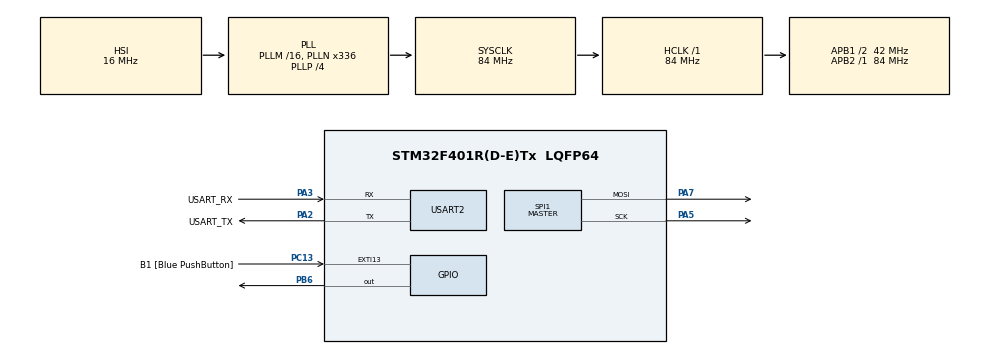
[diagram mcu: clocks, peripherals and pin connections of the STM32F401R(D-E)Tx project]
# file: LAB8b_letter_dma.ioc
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Dma.Request0=SPI1_TX
Dma.SPI1_TX.0.Direction=DMA_MEMORY_TO_PERIPH
Dma.SPI1_TX.0.FIFOMode=DMA_FIFOMODE_DISABLE
Dma.SPI1_TX.0.Instance=DMA2_Stream3
Dma.SPI1_TX.0.MemDataAlignment=DMA_MDATAALIGN_BYTE
Dma.SPI1_TX.0.MemInc=DMA_MINC_ENABLE
Dma.SPI1_TX.0.Mode=DMA_NORMAL
Dma.SPI1_TX.0.PeriphDataAlignment=DMA_PDATAALIGN_BYTE
Dma.SPI1_TX.0.PeriphInc=DMA_PINC_DISABLE
Dma.SPI1_TX.0.Priority=DMA_PRIORITY_LOW
Mcu.Family=STM32F4
Mcu.Name=STM32F401R(D-E)Tx
Mcu.Package=LQFP64
NVIC.DMA2_Stream3_IRQn=true\:0\:0\:false\:false\:true\:false\:true
NVIC.PriorityGroup=NVIC_PRIORITYGROUP_0
NVIC.TIM1_UP_TIM10_IRQn=true\:0\:0\:false\:false\:true\:true\:true
NVIC.TIM2_IRQn=true\:0\:0\:false\:false\:true\:true\:true
PA13.GPIO_Label=TMS
PA13.Mode=Serial_Wire
PA13.Signal=SYS_JTMS-SWDIO
PA14.GPIO_Label=TCK
PA14.Mode=Serial_Wire
PA14.Signal=SYS_JTCK-SWCLK
PA2.GPIO_Label=USART_TX
PA2.GPIO_Mode=GPIO_MODE_AF_PP
PA2.GPIO_PuPd=GPIO_NOPULL
PA2.GPIO_Speed=GPIO_SPEED_FREQ_LOW
PA2.Mode=Asynchronous
PA2.Signal=USART2_TX
PA3.GPIO_Label=USART_RX
PA3.GPIO_Mode=GPIO_MODE_AF_PP
PA3.GPIO_PuPd=GPIO_NOPULL
PA3.GPIO_Speed=GPIO_SPEED_FREQ_LOW
PA3.Mode=Asynchronous
PA3.Signal=USART2_RX
PA5.Mode=TX_Only_Simplex_Unidirect_Master
PA5.Signal=SPI1_SCK
PA7.Mode=TX_Only_Simplex_Unidirect_Master
PA7.Signal=SPI1_MOSI
PB6.Signal=GPIO_Output
PC13-ANTI_TAMP.GPIO_Label=B1 [Blue PushButton]
PC13-ANTI_TAMP.GPIO_ModeDefaultEXTI=GPIO_MODE_IT_FALLING
PC13-ANTI_TAMP.GPIO_PuPd=GPIO_NOPULL
PC13-ANTI_TAMP.Signal=GPXTI13
PC14-OSC32_IN.Mode=LSE-External-Oscillator
PC14-OSC32_IN.Signal=RCC_OSC32_IN
PC15-OSC32_OUT.Mode=LSE-External-Oscillator
PC15-OSC32_OUT.Signal=RCC_OSC32_OUT
PH0\ -\ OSC_IN.Mode=HSE-External-Clock-Source
PH0\ -\ OSC_IN.Signal=RCC_OSC_IN
PH1\ -\ OSC_OUT.Mode=HSE-External-Clock-Source
PH1\ -\ OSC_OUT.Signal=RCC_OSC_OUT
ProjectManager.HeapSize=0x200
ProjectManager.StackSize=0x400
ProjectManager.TargetToolchain=STM32CubeIDE
RCC.48MHZClocksFreq_Value=48000000
RCC.AHBFreq_Value=84000000
RCC.APB1CLKDivider=RCC_HCLK_DIV2
RCC.APB1Freq_Value=42000000
RCC.APB1TimFreq_Value=84000000
RCC.APB2Freq_Value=84000000
RCC.APB2TimFreq_Value=84000000
RCC.CortexFreq_Value=84000000
RCC.HCLKFreq_Value=84000000
RCC.HSE_VALUE=8000000
RCC.HSI_VALUE=16000000
RCC.PLLN=336
RCC.PLLP=RCC_PLLP_DIV4
RCC.PLLQ=7
RCC.SYSCLKFreq_VALUE=84000000
RCC.SYSCLKSource=RCC_SYSCLKSOURCE_PLLCLK
RCC.VCOOutputFreq_Value=336000000
SPI1.Direction=SPI_DIRECTION_2LINES
SPI1.Mode=SPI_MODE_MASTER
SPI1.VirtualType=VM_MASTER
TIM1.AutoReloadPreload=TIM_AUTORELOAD_PRELOAD_ENABLE
TIM1.Period=96-1
TIM1.Prescaler=1000-1
TIM2.AutoReloadPreload=TIM_AUTORELOAD_PRELOAD_ENABLE
TIM2.Period=21000-1
TIM2.Prescaler=4000-1
USART2.VirtualMode=VM_ASYNC
VP_TIM1_VS_ClockSourceINT.Mode=Internal
VP_TIM2_VS_ClockSourceINT.Mode=Internal
board=NUCLEO-F401RE

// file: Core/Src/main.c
/* USER CODE BEGIN Header */
/**
  ******************************************************************************
  * @file           : main.c
  * @brief          : Main program body
  ******************************************************************************
  * @attention
  *
  * <h2><center>&copy; Copyright (c) 2021 STMicroelectronics.
  * All rights reserved.</center></h2>
  *
  * This software component is licensed by ST under BSD 3-Clause license,
  * the "License"; You may not use this file except in compliance with the
  * License. You may obtain a copy of the License at:
  *                        opensource.org/licenses/BSD-3-Clause
  *
  ******************************************************************************
  */
/* USER CODE END Header */
#include "main.h"

/* USER CODE BEGIN PTD */
typedef uint8_t letter_t[5][2];

/* USER CODE END PTD */

/* USER CODE BEGIN PM */
#define GET_LETTER_BYTES(col1,col2,col3,col4,col5) {{col1<<1,16},{col2<<1,8},{col3<<1,4},{col4<<1,2},{col5<<1,1}}
/* USER CODE END PM */

SPI_HandleTypeDef hspi1;
DMA_HandleTypeDef hdma_spi1_tx;

TIM_HandleTypeDef htim1;
TIM_HandleTypeDef htim2;

UART_HandleTypeDef huart2;

/* USER CODE BEGIN PV */
letter_t letterA =  GET_LETTER_BYTES(31,36,68,36,31);
letter_t letterI =  GET_LETTER_BYTES(65,65,127,65,65);

/* USER CODE END PV */

void SystemClock_Config(void);
static void MX_GPIO_Init(void);
static void MX_USART2_UART_Init(void);
static void MX_TIM1_Init(void);
static void MX_DMA_Init(void);
static void MX_SPI1_Init(void);
static void MX_TIM2_Init(void);

/* USER CODE BEGIN 0 */
// anonymous struct
volatile struct {
	uint8_t index;
	letter_t letter;
} display;

void HAL_TIM_PeriodElapsedCallback(TIM_HandleTypeDef *htim)
{
	if(htim->Instance == htim2.Instance){
		static int letter_counter = 0;
		if(letter_counter == 0){
		  memcpy(display.letter, letterA, sizeof letterA);
		  letter_counter = 1;
		} else {
		  memcpy(display.letter, letterI, sizeof letterI);
		  letter_counter = 0;
		}
	}else
	 if(htim->Instance == htim1.Instance){
		  HAL_GPIO_WritePin(GPIOB,GPIO_PIN_6, GPIO_PIN_SET);
		  if(++display.index > 4)
			 display.index = 0;
		  HAL_GPIO_WritePin(GPIOB,GPIO_PIN_6, GPIO_PIN_RESET);
		  HAL_SPI_Transmit_DMA(&hspi1, display.letter[display.index], 2);
	  }
}
/* USER CODE END 0 */

int main(void)
{

  /* MCU Configuration--------------------------------------------------------*/

  /* Reset of all peripherals, Initializes the Flash interface and the Systick. */
  HAL_Init();

  /* Configure the system clock */
  SystemClock_Config();

  /* Initialize all configured peripherals */
  MX_GPIO_Init();
  MX_USART2_UART_Init();
  MX_TIM1_Init();
  MX_DMA_Init();
  MX_SPI1_Init();
  MX_TIM2_Init();
  /* USER CODE BEGIN 2 */
  HAL_TIM_Base_Start_IT(&htim2);
  HAL_TIM_Base_Start_IT(&htim1);

  /* USER CODE END 2 */

  /* Infinite loop */
  while (1)
  {

  }
}

void SystemClock_Config(void)
{
  RCC_OscInitTypeDef RCC_OscInitStruct = {0};
  RCC_ClkInitTypeDef RCC_ClkInitStruct = {0};

  /** Configure the main internal regulator output voltage
  */
  __HAL_RCC_PWR_CLK_ENABLE();
  __HAL_PWR_VOLTAGESCALING_CONFIG(PWR_REGULATOR_VOLTAGE_SCALE2);
  /** Initializes the RCC Oscillators according to the specified parameters
  * in the RCC_OscInitTypeDef structure.
  */
  RCC_OscInitStruct.OscillatorType = RCC_OSCILLATORTYPE_HSI;
  RCC_OscInitStruct.HSIState = RCC_HSI_ON;
  RCC_OscInitStruct.HSICalibrationValue = RCC_HSICALIBRATION_DEFAULT;
  RCC_OscInitStruct.PLL.PLLState = RCC_PLL_ON;
  RCC_OscInitStruct.PLL.PLLSource = RCC_PLLSOURCE_HSI;
  RCC_OscInitStruct.PLL.PLLM = 16;
  RCC_OscInitStruct.PLL.PLLN = 336;
  RCC_OscInitStruct.PLL.PLLP = RCC_PLLP_DIV4;
  RCC_OscInitStruct.PLL.PLLQ = 7;
  if (HAL_RCC_OscConfig(&RCC_OscInitStruct) != HAL_OK)
  {
    Error_Handler();
  }
  /** Initializes the CPU, AHB and APB buses clocks
  */
  RCC_ClkInitStruct.ClockType = RCC_CLOCKTYPE_HCLK|RCC_CLOCKTYPE_SYSCLK
                              |RCC_CLOCKTYPE_PCLK1|RCC_CLOCKTYPE_PCLK2;
  RCC_ClkInitStruct.SYSCLKSource = RCC_SYSCLKSOURCE_PLLCLK;
  RCC_ClkInitStruct.AHBCLKDivider = RCC_SYSCLK_DIV1;
  RCC_ClkInitStruct.APB1CLKDivider = RCC_HCLK_DIV2;
  RCC_ClkInitStruct.APB2CLKDivider = RCC_HCLK_DIV1;

  if (HAL_RCC_ClockConfig(&RCC_ClkInitStruct, FLASH_LATENCY_2) != HAL_OK)
  {
    Error_Handler();
  }
}

static void MX_SPI1_Init(void)
{

  /* SPI1 parameter configuration*/
  hspi1.Instance = SPI1;
  hspi1.Init.Mode = SPI_MODE_MASTER;
  hspi1.Init.Direction = SPI_DIRECTION_2LINES;
  hspi1.Init.DataSize = SPI_DATASIZE_8BIT;
  hspi1.Init.CLKPolarity = SPI_POLARITY_LOW;
  hspi1.Init.CLKPhase = SPI_PHASE_1EDGE;
  hspi1.Init.NSS = SPI_NSS_SOFT;
  hspi1.Init.BaudRatePrescaler = SPI_BAUDRATEPRESCALER_2;
  hspi1.Init.FirstBit = SPI_FIRSTBIT_MSB;
  hspi1.Init.TIMode = SPI_TIMODE_DISABLE;
  hspi1.Init.CRCCalculation = SPI_CRCCALCULATION_DISABLE;
  hspi1.Init.CRCPolynomial = 10;
  if (HAL_SPI_Init(&hspi1) != HAL_OK)
  {
    Error_Handler();
  }

}

static void MX_TIM1_Init(void)
{

  TIM_ClockConfigTypeDef sClockSourceConfig = {0};
  TIM_MasterConfigTypeDef sMasterConfig = {0};

  htim1.Instance = TIM1;
  htim1.Init.Prescaler = 1000-1;
  htim1.Init.CounterMode = TIM_COUNTERMODE_UP;
  htim1.Init.Period = 96-1;
  htim1.Init.ClockDivision = TIM_CLOCKDIVISION_DIV1;
  htim1.Init.RepetitionCounter = 0;
  htim1.Init.AutoReloadPreload = TIM_AUTORELOAD_PRELOAD_ENABLE;
  if (HAL_TIM_Base_Init(&htim1) != HAL_OK)
  {
    Error_Handler();
  }
  sClockSourceConfig.ClockSource = TIM_CLOCKSOURCE_INTERNAL;
  if (HAL_TIM_ConfigClockSource(&htim1, &sClockSourceConfig) != HAL_OK)
  {
    Error_Handler();
  }
  sMasterConfig.MasterOutputTrigger = TIM_TRGO_RESET;
  sMasterConfig.MasterSlaveMode = TIM_MASTERSLAVEMODE_DISABLE;
  if (HAL_TIMEx_MasterConfigSynchronization(&htim1, &sMasterConfig) != HAL_OK)
  {
    Error_Handler();
  }

}

static void MX_TIM2_Init(void)
{

  TIM_ClockConfigTypeDef sClockSourceConfig = {0};
  TIM_MasterConfigTypeDef sMasterConfig = {0};

  htim2.Instance = TIM2;
  htim2.Init.Prescaler = 4000-1;
  htim2.Init.CounterMode = TIM_COUNTERMODE_UP;
  htim2.Init.Period = 21000-1;
  htim2.Init.ClockDivision = TIM_CLOCKDIVISION_DIV1;
  htim2.Init.AutoReloadPreload = TIM_AUTORELOAD_PRELOAD_ENABLE;
  if (HAL_TIM_Base_Init(&htim2) != HAL_OK)
  {
    Error_Handler();
  }
  sClockSourceConfig.ClockSource = TIM_CLOCKSOURCE_INTERNAL;
  if (HAL_TIM_ConfigClockSource(&htim2, &sClockSourceConfig) != HAL_OK)
  {
    Error_Handler();
  }
  sMasterConfig.MasterOutputTrigger = TIM_TRGO_RESET;
  sMasterConfig.MasterSlaveMode = TIM_MASTERSLAVEMODE_DISABLE;
  if (HAL_TIMEx_MasterConfigSynchronization(&htim2, &sMasterConfig) != HAL_OK)
  {
    Error_Handler();
  }

}

static void MX_USART2_UART_Init(void)
{

  huart2.Instance = USART2;
  huart2.Init.BaudRate = 115200;
  huart2.Init.WordLength = UART_WORDLENGTH_8B;
  huart2.Init.StopBits = UART_STOPBITS_1;
  huart2.Init.Parity = UART_PARITY_NONE;
  huart2.Init.Mode = UART_MODE_TX_RX;
  huart2.Init.HwFlowCtl = UART_HWCONTROL_NONE;
  huart2.Init.OverSampling = UART_OVERSAMPLING_16;
  if (HAL_UART_Init(&huart2) != HAL_OK)
  {
    Error_Handler();
  }

}

static void MX_DMA_Init(void)
{

  /* DMA controller clock enable */
  __HAL_RCC_DMA2_CLK_ENABLE();

  /* DMA interrupt init */
  /* DMA2_Stream3_IRQn interrupt configuration */
  HAL_NVIC_SetPriority(DMA2_Stream3_IRQn, 0, 0);
  HAL_NVIC_EnableIRQ(DMA2_Stream3_IRQn);

}

static void MX_GPIO_Init(void)
{
  GPIO_InitTypeDef GPIO_InitStruct = {0};

  /* GPIO Ports Clock Enable */
  __HAL_RCC_GPIOC_CLK_ENABLE();
  __HAL_RCC_GPIOH_CLK_ENABLE();
  __HAL_RCC_GPIOA_CLK_ENABLE();
  __HAL_RCC_GPIOB_CLK_ENABLE();

  /*Configure GPIO pin Output Level */
  HAL_GPIO_WritePin(GPIOB, GPIO_PIN_6, GPIO_PIN_RESET);

  /*Configure GPIO pin : B1_Pin */
  GPIO_InitStruct.Pin = B1_Pin;
  GPIO_InitStruct.Mode = GPIO_MODE_IT_FALLING;
  GPIO_InitStruct.Pull = GPIO_NOPULL;
  HAL_GPIO_Init(B1_GPIO_Port, &GPIO_InitStruct);

  /*Configure GPIO pin : PB6 */
  GPIO_InitStruct.Pin = GPIO_PIN_6;
  GPIO_InitStruct.Mode = GPIO_MODE_OUTPUT_PP;
  GPIO_InitStruct.Pull = GPIO_NOPULL;
  GPIO_InitStruct.Speed = GPIO_SPEED_FREQ_LOW;
  HAL_GPIO_Init(GPIOB, &GPIO_InitStruct);

}

void Error_Handler(void)
{
  __disable_irq();
  while (1)
  {
  }
}

/************************ (C) COPYRIGHT STMicroelectronics *****END OF FILE****/
